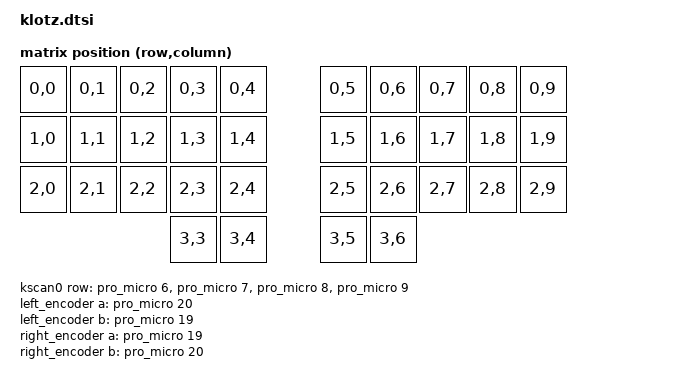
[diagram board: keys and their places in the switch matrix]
/*
 * Copyright (c) 2022 The ZMK Contributors
 *
 * SPDX-License-Identifier: MIT
 */

#include <dt-bindings/zmk/matrix_transform.h>

/ {
    chosen {
        zmk,kscan = &kscan0;
        zmk,matrix_transform = &default_transform;
        /* 백라이트 기능 활성화 시 필요한 chosen 노드 */
        zmk,backlight = &backlight;
    };

    default_transform: keymap_transform {
        compatible = "zmk,matrix-transform";
        columns = <10>;
        rows = <4>;
        map = <
        RC(0,0) RC(0,1) RC(0,2) RC(0,3) RC(0,4)    RC(0,5) RC(0,6) RC(0,7) RC(0,8) RC(0,9)
        RC(1,0) RC(1,1) RC(1,2) RC(1,3) RC(1,4)    RC(1,5) RC(1,6) RC(1,7) RC(1,8) RC(1,9)
        RC(2,0) RC(2,1) RC(2,2) RC(2,3) RC(2,4)    RC(2,5) RC(2,6) RC(2,7) RC(2,8) RC(2,9)
                                RC(3,3) RC(3,4)    RC(3,5) RC(3,6)
        >;
    };

    kscan0: kscan {
        compatible = "zmk,kscan-gpio-matrix";
        diode-direction = "col2row";
        row-gpios
            = <&pro_micro 6 (GPIO_ACTIVE_HIGH | GPIO_PULL_DOWN)>
            , <&pro_micro 7 (GPIO_ACTIVE_HIGH | GPIO_PULL_DOWN)>
            , <&pro_micro 8 (GPIO_ACTIVE_HIGH | GPIO_PULL_DOWN)>
            , <&pro_micro 9 (GPIO_ACTIVE_HIGH | GPIO_PULL_DOWN)>
            ;
    };

    /* PWM 백라이트 설정: D3, D4, D5 핀을 묶어서 제어 */
    backlight: pwm_leds {
        compatible = "pwm-leds";
        pwm_led_0 {
            pwms = <&pwm0 0 10000 PWM_POLARITY_NORMAL>;
        };
    };

    /* 나중에 개별 인디케이터로 쓸 때를 위한 GPIO 정의 */
    leds {
        compatible = "gpio-leds";
        led_d3: led_0 {
            gpios = <&pro_micro 3 GPIO_ACTIVE_HIGH>;
        };
        led_d4: led_1 {
            gpios = <&pro_micro 4 GPIO_ACTIVE_HIGH>;
        };
        led_d5: led_2 {
            gpios = <&pro_micro 5 GPIO_ACTIVE_HIGH>;
        };
    };

    left_encoder: encoder_left {
        compatible = "alps,ec11";
        a-gpios = <&pro_micro 20 (GPIO_ACTIVE_HIGH | GPIO_PULL_UP)>;
        b-gpios = <&pro_micro 19 (GPIO_ACTIVE_HIGH | GPIO_PULL_UP)>;
        steps = <80>;
    };

    right_encoder: encoder_right {
        compatible = "alps,ec11";
        a-gpios = <&pro_micro 19 (GPIO_ACTIVE_HIGH | GPIO_PULL_UP)>;
		b-gpios = <&pro_micro 20 (GPIO_ACTIVE_HIGH | GPIO_PULL_UP)>;
		resolution = <4>;
		//status = "disabled";
	};

	sensors {
		compatible = "zmk,keymap-sensors";
		sensors = <&left_encoder &right_encoder>;
	};
};
/* 파일 하단, 루트 블록( / { ... }; ) 바깥에 위치해야 함 */

&pinctrl {
    pwm0_default: pwm0_default {
        group1 {
            /* 모든 핀을 OUT0 채널 하나에 할당하여 동일한 PWM 신호를 출력하게 함 */
            psels = <NRF_PSEL(PWM_OUT0, 0, 20)>,  // D3
                    <NRF_PSEL(PWM_OUT0, 0, 22)>,  // D4
                    <NRF_PSEL(PWM_OUT0, 0, 24)>;  // D5
        }
    };
    pwm0_sleep: pwm0_sleep {
        group1 {
            psels = <NRF_PSEL(PWM_OUT0, 0, 20)>,
                    <NRF_PSEL(PWM_OUT0, 0, 22)>,
                    <NRF_PSEL(PWM_OUT0, 0, 24)>;
            low-power-enable;
        };
    };
};

&pwm0 {
    status = "okay";
    pinctrl-0 = <&pwm0_default>;
    pinctrl-1 = <&pwm0_sleep>;
    pinctrl-names = "default", "sleep";
    /* 드라이버에 따라 compatible이 필요할 수 있음 */
    compatible = "nordic,nrf-pwm";
};
